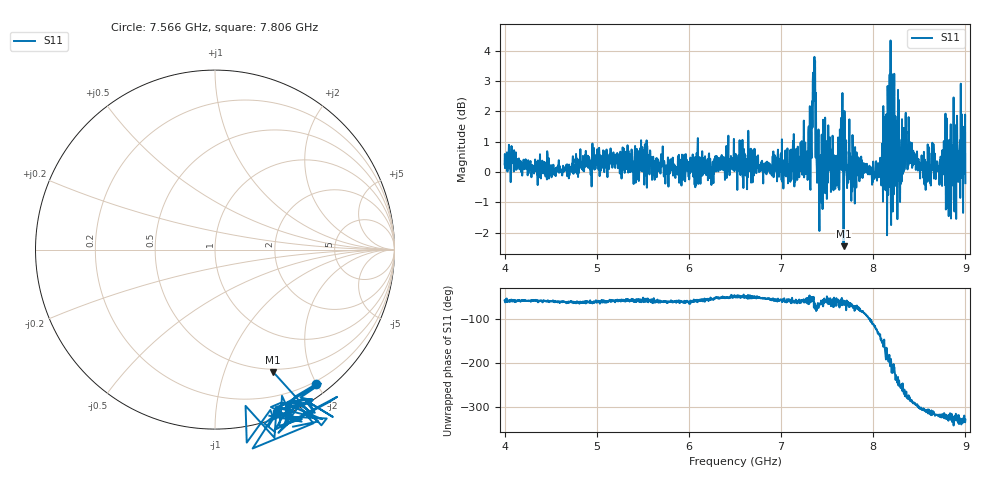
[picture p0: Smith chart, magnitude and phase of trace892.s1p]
! Created with skrf 1.8.0 (http://scikit-rf.org).
# Hz S RI R 50.0
!freq ReS11 ImS11
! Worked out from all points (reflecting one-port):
!   1601 points, 4 GHz to 9 GHz, reference 50 ohm
!   lowest |S11| = -2.4 dB at 7.678 GHz (marker M1), VSWR 7.14, Z = 23.4 - j73.9 ohm
!   phase of S11 starts at -57 deg and turns -273 deg over the sweep
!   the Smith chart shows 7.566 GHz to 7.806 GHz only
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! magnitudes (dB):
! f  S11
! 4 GHz  0.3
! 4.625 GHz  -0.1
! 5.25 GHz  0.0
! 5.875 GHz  0.1
! 6.5 GHz  0.4
! 7.125 GHz  0.4
! 7.294 GHz  0.5
! 7.356 GHz  3.1
! 7.381 GHz  1.0
! 7.4 GHz  0.0
! 7.428 GHz  0.4
! 7.512 GHz  1.5
! 7.609 GHz  0.0
! 7.641 GHz  1.1
! 7.678 GHz  -2.4
! 7.75 GHz  0.0
! 8.066 GHz  0.1
! 8.172 GHz  -0.5
! 8.178 GHz  3.2
! 8.216 GHz  0.6
! 8.253 GHz  1.7
! 8.316 GHz  0.6
! 8.338 GHz  0.1
! 8.375 GHz  0.5
! 8.562 GHz  -0.4
! 8.869 GHz  -0.1
! 8.972 GHz  1.1
! 9 GHz  -0.4
